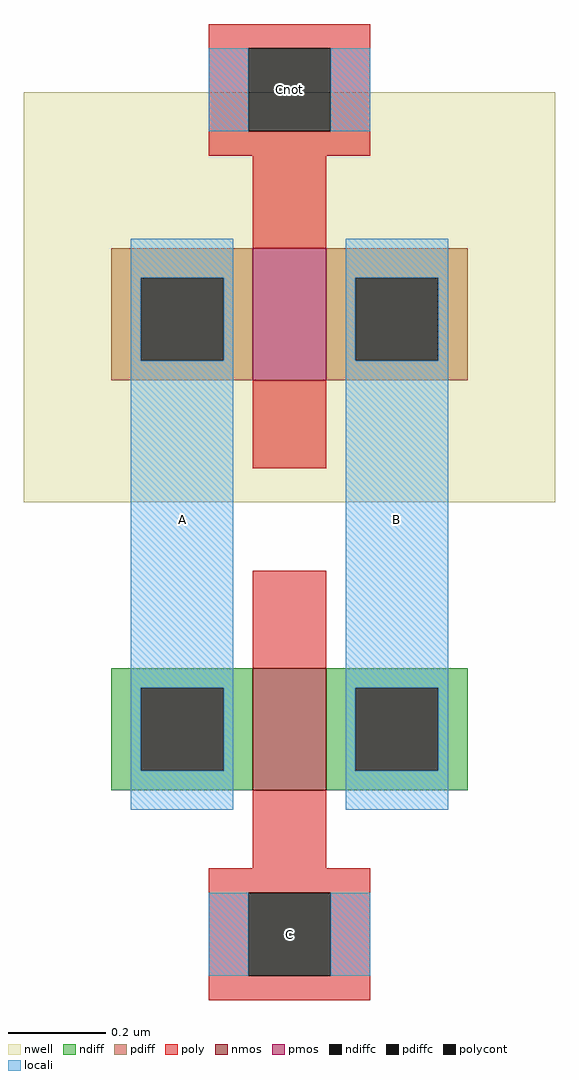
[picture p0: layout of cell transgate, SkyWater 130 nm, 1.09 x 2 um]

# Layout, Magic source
magic
tech sky130A
<< nwell >>
rect -34 29 75 113
<< nmos >>
rect 13 -30 28 -5
<< pmos >>
rect 13 54 28 81
<< ndiff >>
rect -16 -9 13 -5
rect -16 -26 -10 -9
rect 7 -26 13 -9
rect -16 -30 13 -26
rect 28 -9 57 -5
rect 28 -26 34 -9
rect 51 -26 57 -9
rect 28 -30 57 -26
<< pdiff >>
rect -16 75 13 81
rect -16 58 -10 75
rect 7 58 13 75
rect -16 54 13 58
rect 28 75 57 81
rect 28 58 34 75
rect 51 58 57 75
rect 28 54 57 58
<< ndiffc >>
rect -10 -26 7 -9
rect 34 -26 51 -9
<< pdiffc >>
rect -10 58 7 75
rect 34 58 51 75
<< poly >>
rect 4 122 37 127
rect 4 105 12 122
rect 29 105 37 122
rect 4 100 37 105
rect 13 81 28 100
rect 13 36 28 54
rect 13 -5 28 15
rect 13 -46 28 -30
rect 4 -51 37 -46
rect 4 -68 12 -51
rect 29 -68 37 -51
rect 4 -73 37 -68
<< polycont >>
rect 12 105 29 122
rect 12 -68 29 -51
<< locali >>
rect 4 105 12 122
rect 29 105 37 122
rect -12 75 9 83
rect -12 58 -10 75
rect 7 58 9 75
rect -12 -9 9 58
rect -12 -26 -10 -9
rect 7 -26 9 -9
rect -12 -34 9 -26
rect 32 75 53 83
rect 32 58 34 75
rect 51 58 53 75
rect 32 -9 53 58
rect 32 -26 34 -9
rect 51 -26 53 -9
rect 32 -34 53 -26
rect 4 -68 12 -51
rect 29 -68 37 -51
<< labels >>
rlabel locali 34 17 51 34 1 B
rlabel locali -10 17 7 34 1 A
rlabel polycont 12 -68 29 -51 1 C
rlabel polycont 12 105 29 122 1 Cnot
<< end >>
